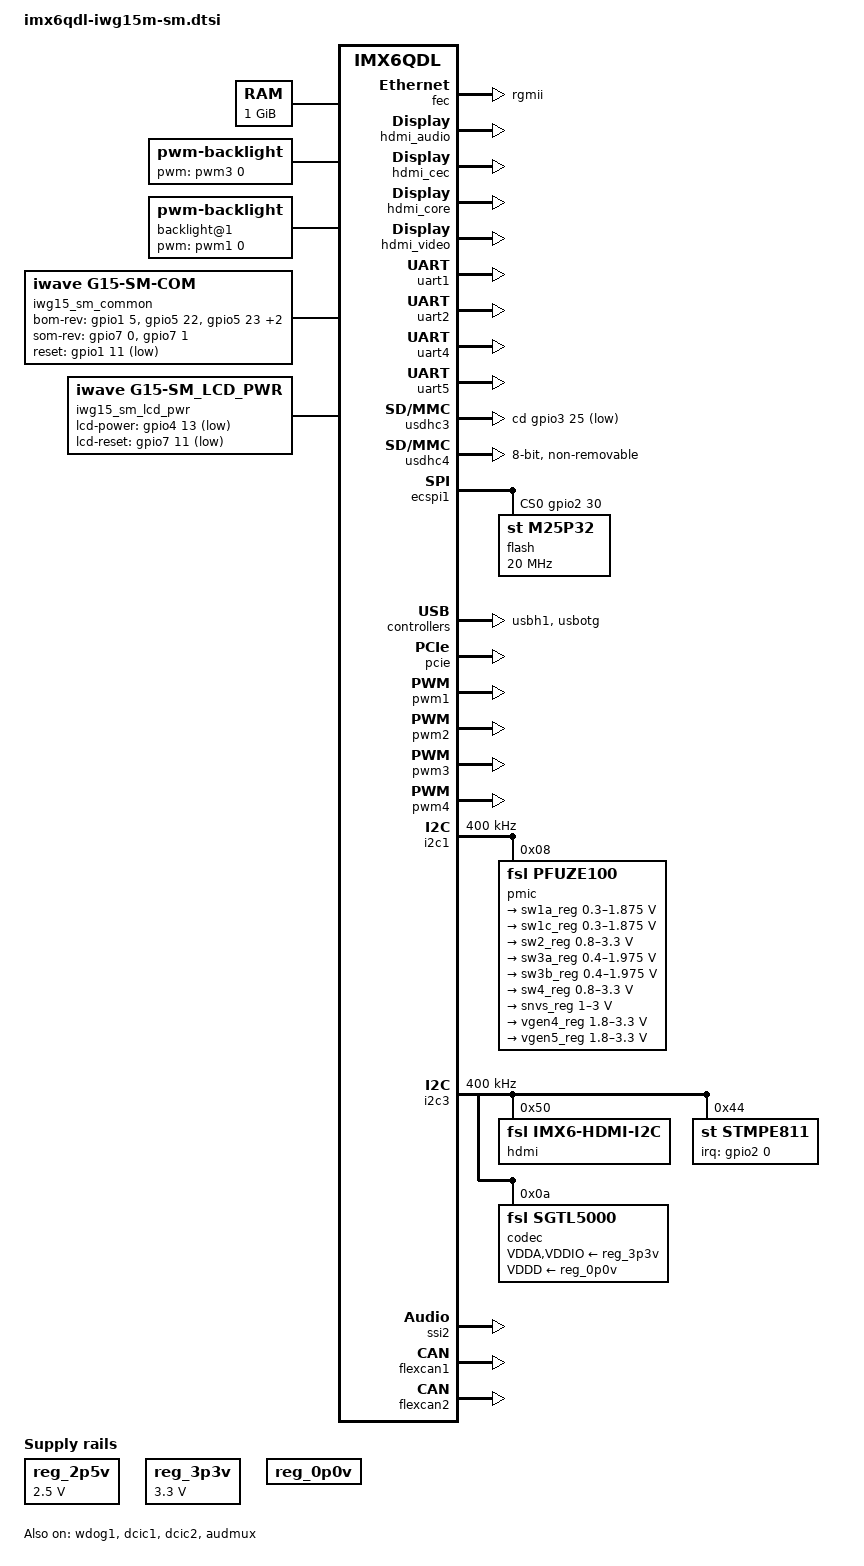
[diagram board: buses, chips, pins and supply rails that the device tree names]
/*
 * Copyright (c) 2017 iWave Systems Technologies Pvt. Ltd.
 *
 * The code contained herein is licensed under the GNU General Public
 * License. You may obtain a copy of the GNU General Public License
 * Version 2 or later at the following locations:
 *
 * http://www.opensource.org/licenses/gpl-license.html
 * http://www.gnu.org/copyleft/gpl.html
 */

#include <dt-bindings/gpio/gpio.h>
#include <dt-bindings/input/input.h>

/ {
        aliases {
                mxcfb0 = &mxcfb1;
                mxcfb1 = &mxcfb2;
                mxcfb2 = &mxcfb3;
        };

        memory: memory {
                reg = <0x10000000 0x40000000>;
        };

        regulators {
                compatible = "simple-bus";

                reg_2p5v: 2p5v {
                        compatible = "regulator-fixed";
                        regulator-name = "2P5V";
                        regulator-min-microvolt = <2500000>;
                        regulator-max-microvolt = <2500000>;
                        regulator-always-on;
                };

                reg_3p3v: 3p3v {
                        compatible = "regulator-fixed";
                        regulator-name = "3P3V";
                        regulator-min-microvolt = <3300000>;
                        regulator-max-microvolt = <3300000>;
                        regulator-always-on;
                };

                reg_0p0v: 0p0v {
                        compatible = "regulator-fixed";
                        regulator-name = "0P0V";
                        regulator-min-microvolt = <0000000>;
                        regulator-max-microvolt = <0000000>;
                        regulator-always-on;
                };

        };

        sound-hdmi {
                compatible = "fsl,imx6q-audio-hdmi",
                             "fsl,imx-audio-hdmi";
                model = "imx-audio-hdmi";
                hdmi-controller = <&hdmi_audio>;
        };

	sound {
                compatible = "fsl,imx6q","fsl,imx-audio-sgtl5000";
                model = "imx6-audio-sgtl5000";
		ssi-controller = <&ssi2>;
                audio-codec = <&codec>;
                audio-routing =
                        "MIC_IN", "Mic Jack",
                        "Mic Jack", "Mic Bias",
                        "Headphone Jack", "HP_OUT";
                mux-int-port = <2>;
                mux-ext-port = <4>;
        };

        mxcfb1: fb@0 {
                compatible = "fsl,mxc_sdc_fb";
                disp_dev = "lcd";
                interface_pix_fmt = "RGB24";
                mode_str ="WQVGA";
                default_bpp = <24>;
                int_clk = <0>;
                late_init = <0>;
                status = "disabled";
        };

	mxcfb2: fb@1 {
		compatible = "fsl,mxc_sdc_fb";
		disp_dev = "hdmi";
		interface_pix_fmt = "RGB24";
		mode_str ="1920x1080M@60";
		default_bpp = <24>;
		int_clk = <0>;
		late_init = <0>;
		status = "disabled";
	};
		
	mxcfb3: fb@2 {
		compatible = "fsl,mxc_sdc_fb";
		disp_dev = "ldb";
		interface_pix_fmt = "RGB666";
		default_bpp = <16>;
		int_clk = <0>;
		late_init = <0>;
		status = "disabled";
	};

	lcd@0 {
		compatible = "fsl,lcd";
		ipu_id = <0>;
		disp_id = <0>;
		default_ifmt = "RGB565";
		pinctrl-names = "default";
		pinctrl-0 = <&pinctrl_ipu1_2>;
		status = "okay";
	};

	backlight {
                compatible = "pwm-backlight";
                pwms = <&pwm3 0 5000000>;
                brightness-levels = <0 4 8 16 32 64 128 255>;
                default-brightness-level = <7>;
		status = "okay";
        };

	backlight@1 {
		compatible = "pwm-backlight";
		pwms = <&pwm1 0 5000000>;
		brightness-levels = <255 128 64 32 16 8 4 0>;
		default-brightness-level = <7>;
		status = "okay";
        };

v4l2_cap_0 {
                compatible = "fsl,imx6q-v4l2-capture";
                ipu_id = <0>;
                csi_id = <0>;
                mclk_source = <0>;
                status = "disabled";
        };

v4l2_cap_1: v4l2_cap_1 {
                compatible = "fsl,imx6q-v4l2-capture";
                csi_id = <1>;
                mclk_source = <0>;
                status = "disabled";
        };

v4l2_out {
                compatible = "fsl,mxc_v4l2_output";
                status = "okay";
        };


unused_gpios: unused_gpios {
                compatible = "iwave,unused-gpios";
                status = "okay";
        };

iwg15_sm_common {
                compatible = "iwave,g15-sm-com";
                bom-rev-gpios = <&gpio1 5 0 &gpio5 22 0 &gpio5 23 0 &gpio5 24 0 &gpio5 25 0>;
                som-rev-gpios = <&gpio7 0 0  &gpio7 1 0 >;

                reset-gpios = <&gpio1 11 1>;
                status = "okay";
        };

        iwg15_sm_lcd_pwr {
                compatible = "iwave,g15-sm_lcd_pwr";
                lcd-power = <&gpio4 13 1>;
                lcd-reset = <&gpio7 11 1>;
        };
};

&fec {
        pinctrl-names = "default";
        pinctrl-0 = <&pinctrl_enet_1>;
        phy-mode = "rgmii";
		fsl,magic-packet;
        status = "okay";
};

&gpc {
        fsl,ldo-bypass = <1>; /* use ldo-bypass, u-boot will check it and configure */
        fsl,wdog-reset = <1>; /* watchdog select of reset source */
};

&wdog1 {
	status = "okay";
};

&wdog2 {
	status = "disabled";
};

&hdmi_audio {
        status = "okay";
};

&hdmi_cec {
        pinctrl-names = "default";
        pinctrl-0 = <&pinctrl_hdmi_cec_4>;
        hdmi-cec-sm = <&gpio1 21 1>;
        status = "okay";
};

&hdmi_core {
        ipu_id = <0>;
        disp_id = <1>;
        status = "okay";
};

&hdmi_video {
        fsl,phy_reg_vlev = <0x0294>;
        fsl,phy_reg_cksymtx = <0x800d>;
        status = "okay";
};

&mxcfb1 {
        status = "okay";
};

&mxcfb2 {
        status = "okay";
};

&dcic1 {
	dcic_id = <0>;
	dcic_mux = "dcic-hdmi";
	status = "okay";
};

&dcic2 {
	dcic_id = <1>;
	dcic_mux = "dcic-lvds0";
	status = "okay";
};

&uart1 {
        pinctrl-names = "default";
        pinctrl-0 = <&pinctrl_uart1_1>;
        status = "okay";
};

&uart2 {
        pinctrl-names = "default";
        pinctrl-0 = <&pinctrl_uart2_1>;
        status = "okay";
};

&uart4 {
        pinctrl-names = "default";
        pinctrl-0 = <&pinctrl_uart4_4>;
        status = "okay";
};

&uart5 {
        pinctrl-names = "default";
        pinctrl-0 = <&pinctrl_uart5_4>;
        fsl,uart-has-rtscts;
        status = "okay";
};

&usdhc3 {
        pinctrl-names = "default";
        pinctrl-0 = <&pinctrl_usdhc3_4>;
        cd-gpios = <&gpio3 25 1>;
        no-1-8-v;
        keep-power-in-suspend;
        enable-sdio-wakeup;
        status = "okay";
};

&usdhc4 {
        pinctrl-names = "default";
        pinctrl-0 = <&pinctrl_usdhc4_1>;
        bus-width = <8>;
        non-removable;
        no-1-8-v;
        keep-power-in-suspend;
        status = "okay";
};

&ecspi1 {
        fsl,spi-num-chipselects = <1>;
        cs-gpios = <&gpio2 30 0>;
        pinctrl-names = "default";
        pinctrl-0 = <&pinctrl_ecspi1_1 &pinctrl_ecspi1_cs_1>;
        status = "okay";

        flash: m25p80@0 {
                #address-cells = <1>;
                #size-cells = <1>;
                compatible = "st,m25p32";
                spi-max-frequency = <20000000>;
                reg = <0>;
        };
};

&usbh1 {
	status = "okay";
};

&usbotg {
        pinctrl-names = "default";
        pinctrl-0 = <&pinctrl_usbotg_4>;
        disable-over-current;
	srp-disable;
	hnp-disable;
	adp-disable;
        status = "okay";
};

&pcie {
        status = "okay";
};

&pwm1 {
        pinctrl-names = "default";
        pinctrl-0 = <&pinctrl_pwm1_2>;
        status = "okay";
};

&pwm2 {
        pinctrl-names = "default";
        pinctrl-0 = <&pinctrl_pwm2_4>;
        status = "okay";
};
&pwm3 {
        pinctrl-names = "default";
        pinctrl-0 = <&pinctrl_pwm3_4>;
        status = "okay";
};
&pwm4 {
        pinctrl-names = "default";
        pinctrl-0 = <&pinctrl_pwm4_4>;
        status = "okay";
};

&i2c1 {
        clock-frequency = <400000>;
        pinctrl-names = "default";
        pinctrl-0 = <&pinctrl_i2c1_1>;
        status = "okay";

};

&i2c3 {
        clock-frequency = <400000>;
        pinctrl-names = "default";
        pinctrl-0 = <&pinctrl_i2c3_4>;
        status = "okay";

        hdmi: edid@50 {
                compatible = "fsl,imx6-hdmi-i2c";
                reg = <0x50>;
        };

		/* STMPE811 touch screen controller */
        stmpe811@44 {
                compatible = "st,stmpe811";
                #address-cells = <1>;
                #size-cells = <0>;
                reg = <0x44>;
                interrupts = <0 2>;
                interrupt-parent = <&gpio2>;
                interrupt-controller;
                id = <0>;
                blocks = <0x5>;
                irq-trigger = <0x1>;

                stmpe_touchscreen {
                	compatible = "st,stmpe-ts";
                        reg = <0>;
                        /* 3.25 MHz ADC clock speed */
                        st,adc-freq = <3>;
                        /* 8 sample average control */
                        st,ave-ctrl = <2>;
                        /* 7 length fractional part in z */
                        st,fraction-z = <7>;
                        /*
                         * 50 mA typical 80 mA max touchscreen drivers
                         * current limit value
                         */
                        st,i-drive = <0>;
                        /* 12-bit ADC */
                        st,mod-12b = <1>;
                        /* internal ADC reference */
                        st,ref-sel = <0>;
                        /* ADC converstion time: 80 clocks */
                        st,sample-time = <4>;
                        /* 1 ms panel driver settling time */
                        st,settling = <3>;
                        /* 5 ms touch detect interrupt delay */
                        st,touch-det-delay = <4>;
		};
 	};

	codec: sgtl5000@0a {
	       compatible = "fsl,sgtl5000";
	       reg = <0x0a>;
	       clocks = <&clks 201>;
	       VDDA-supply = <&reg_3p3v>;
	       VDDIO-supply = <&reg_3p3v>;
	       VDDD-supply = <&reg_0p0v>;
       };
};

&audmux {
        pinctrl-names = "default";
        pinctrl-0 = <&pinctrl_audmux_4>;
        status = "okay";
};

&ssi2 {
        fsl,mode = "i2s-slave";
        status = "okay";
};

&flexcan1 {
        pinctrl-names = "default";
        pinctrl-0 = <&pinctrl_flexcan1_4>;
        trx-en-gpio = <&gpio6 10 1>;
        status = "okay";
};
&flexcan2 {
        pinctrl-names = "default";
        pinctrl-0 = <&pinctrl_flexcan2_2>;
        status = "okay";
};

&i2c1 {
	pmic: pfuze100@08 {
		compatible = "fsl,pfuze100";
		reg = <0x08>;

		regulators {
			sw1a_reg: sw1ab {
				regulator-min-microvolt = <300000>;
				regulator-max-microvolt = <1875000>;
				regulator-boot-on;
				regulator-always-on;
				regulator-ramp-delay = <6250>;
			};

			sw1c_reg: sw1c {
				regulator-min-microvolt = <300000>;
				regulator-max-microvolt = <1875000>;
				regulator-boot-on;
				regulator-always-on;
				regulator-ramp-delay = <6250>;
			};

			sw2_reg: sw2 {
				regulator-min-microvolt = <800000>;
				regulator-max-microvolt = <3300000>;
				regulator-boot-on;
				regulator-always-on;
			};

			sw3a_reg: sw3a {
				regulator-min-microvolt = <400000>;
				regulator-max-microvolt = <1975000>;
				regulator-boot-on;
				regulator-always-on;
			};

			sw3b_reg: sw3b {
				regulator-min-microvolt = <400000>;
				regulator-max-microvolt = <1975000>;
				regulator-boot-on;
				regulator-always-on;
			};

			sw4_reg: sw4 {
				regulator-min-microvolt = <800000>;
				regulator-max-microvolt = <3300000>;
			};

			snvs_reg: vsnvs {
				regulator-min-microvolt = <1000000>;
				regulator-max-microvolt = <3000000>;
				regulator-boot-on;
				regulator-always-on;
			};

			vref_reg: vrefddr {
				regulator-boot-on;
				regulator-always-on;
			};

			vgen4_reg: vgen4 {
				regulator-min-microvolt = <1800000>;
				regulator-max-microvolt = <3300000>;
				regulator-always-on;
			};

			vgen5_reg: vgen5 {
				regulator-min-microvolt = <1800000>;
				regulator-max-microvolt = <3300000>;
				regulator-always-on;
			};

		};
	};
};
